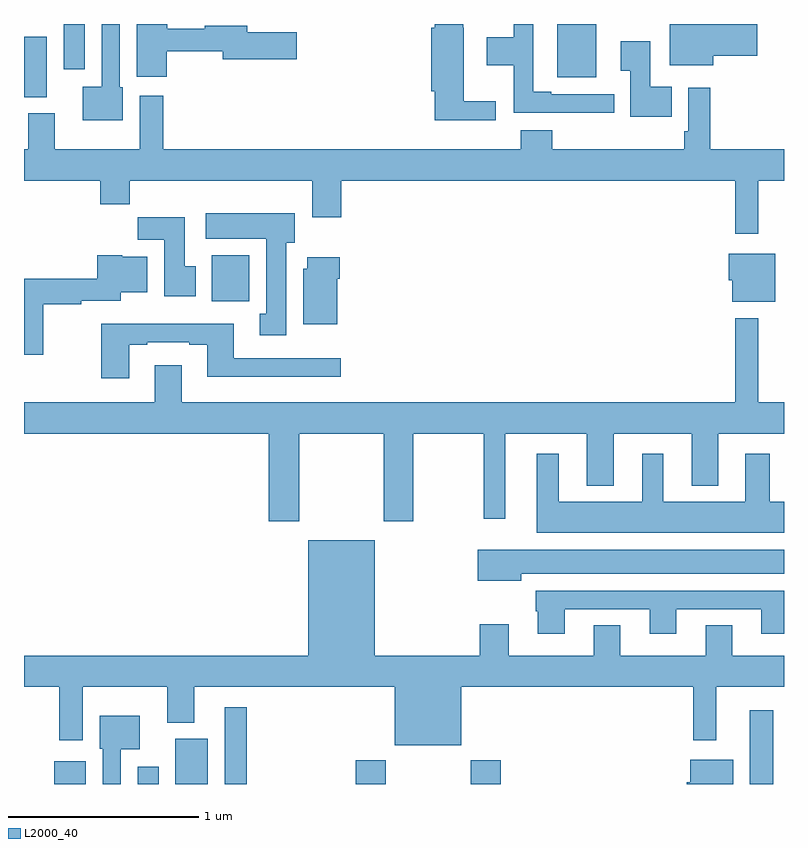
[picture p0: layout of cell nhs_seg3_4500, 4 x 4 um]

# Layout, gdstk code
import gdstk
lib = gdstk.Library(unit=1e-6, precision=1e-09)
def R(c, l, rs):  # rectangles x0, y0, x1, y1
    for r in rs: c.add(gdstk.rectangle(r[:2], r[2:], *l))
def P(c, l, *ps):  # polygons
    for p in ps: c.add(gdstk.Polygon(p, *l))
L2000_40 = (2000, 40)

nhs_seg3_4500 = lib.new_cell('nhs_seg3_4500')
R(nhs_seg3_4500, L2000_40, [(351.158,704.4,351.325,704.521), (351.599,704.4,351.709,704.491), (351.797,704.4,351.967,704.638), (352.056,704.4,352.172,704.803), (352.745,704.4,352.905,704.524), (353.35,704.4,353.51,704.524), (354.821,704.4,354.943,704.788), (351.989,706.94,352.186,707.182), (351,708.014,351.121,708.334), (353.807,708.119,354.013,708.4), (351.209,708.162,351.319,708.4)])
P(nhs_seg3_4500, L2000_40, [(354.628,708.233),(354.859,708.233),(354.859,708.4),(354.398,708.4),(354.398,708.182),(354.628,708.182)],
  [(351.52,708.066),(351.504,708.066),(351.504,708.4),(351.408,708.4),(351.408,708.07),(351.308,708.07),(351.308,707.894),(351.52,707.894)],
  [(353.482,707.993),(353.314,707.993),(353.314,708.381),(353.311,708.381),(353.311,708.4),(353.162,708.4),(353.162,708.381),(353.144,708.381),(353.144,708.045),(353.162,708.045),(353.162,707.894),(353.482,707.894)],
  [(354.106,708.03),(353.776,708.03),(353.776,708.043),(353.679,708.043),(353.679,708.4),(353.578,708.4),(353.578,708.33),(353.436,708.33),(353.436,708.182),(353.578,708.182),(353.578,707.934),(353.863,707.934),(353.863,707.933),(354.106,707.933)],
  [(351.75,708.256),(352.046,708.256),(352.046,708.214),(352.435,708.214),(352.435,708.356),(352.174,708.356),(352.174,708.392),(351.95,708.392),(351.95,708.375),(351.755,708.375),(351.755,708.4),(351.593,708.4),(351.593,708.123),(351.75,708.123)],
  [(354.41,708.07),(354.295,708.07),(354.295,708.31),(354.141,708.31),(354.141,708.154),(354.191,708.154),(354.191,707.912),(354.41,707.912)],
  [(354.865,707.576),(355,707.576),(355,707.74),(354.611,707.74),(354.611,708.064),(354.495,708.064),(354.495,707.836),(354.475,707.836),(354.475,707.74),(353.78,707.74),(353.78,707.842),(353.615,707.842),(353.615,707.74),(351.734,707.74),(351.734,708.022),(351.608,708.022),(351.608,707.74),(351.163,707.74),(351.163,707.929),(351.023,707.929),(351.023,707.74),(351,707.74),(351,707.576),(351.401,707.576),(351.401,707.452),(351.557,707.452),(351.557,707.576),(352.517,707.576),(352.517,707.382),(352.67,707.382),(352.67,707.576),(354.744,707.576),(354.744,707.295),(354.865,707.295)],
  [(352.381,707.25),(352.426,707.25),(352.426,707.404),(351.957,707.404),(351.957,707.27),(352.274,707.27),(352.274,706.874),(352.241,706.874),(352.241,706.761),(352.381,706.761)],
  [(351.904,707.124),(351.847,707.124),(351.847,707.383),(351.598,707.383),(351.598,707.264),(351.737,707.264),(351.737,706.968),(351.904,706.968)],
  [(354.955,707.191),(354.71,707.191),(354.71,707.052),(354.728,707.052),(354.728,706.937),(354.955,706.937)],
  [(351.102,706.924),(351.302,706.924),(351.302,706.944),(351.508,706.944),(351.508,706.988),(351.649,706.988),(351.649,707.176),(351.516,707.176),(351.516,707.182),(351.386,707.182),(351.386,707.06),(351,707.06),(351,706.659),(351.102,706.659)],
  [(352.648,707.06),(352.661,707.06),(352.661,707.173),(352.49,707.173),(352.49,707.112),(352.469,707.112),(352.469,706.82),(352.648,706.82)],
  [(352.449,706.244),(352.894,706.244),(352.894,705.783),(353.049,705.783),(353.049,706.244),(353.419,706.244),(353.419,705.795),(353.533,705.795),(353.533,706.244),(353.963,706.244),(353.963,705.971),(354.103,705.971),(354.103,706.244),(354.515,706.244),(354.515,705.971),(354.655,705.971),(354.655,706.244),(355,706.244),(355,706.408),(354.865,706.408),(354.865,706.852),(354.744,706.852),(354.744,706.408),(351.829,706.408),(351.829,706.603),(351.689,706.603),(351.689,706.408),(351,706.408),(351,706.244),(352.289,706.244),(352.289,705.783),(352.449,705.783)],
  [(351.553,706.713),(351.649,706.713),(351.649,706.725),(351.869,706.725),(351.869,706.713),(351.965,706.713),(351.965,706.544),(352.666,706.544),(352.666,706.641),(352.105,706.641),(352.105,706.822),(351.406,706.822),(351.406,706.536),(351.553,706.536)],
  [(355,705.886),(354.925,705.886),(354.925,706.138),(354.797,706.138),(354.797,705.886),(354.364,705.886),(354.364,706.138),(354.254,706.138),(354.254,705.886),(353.815,705.886),(353.815,706.138),(353.699,706.138),(353.699,705.722),(355,705.722)],
  [(351,704.912),(351.185,704.912),(351.185,704.631),(351.31,704.631),(351.31,704.912),(351.755,704.912),(351.755,704.723),(351.895,704.723),(351.895,704.912),(352.952,704.912),(352.952,704.603),(353.302,704.603),(353.302,704.912),(354.522,704.912),(354.522,704.631),(354.643,704.631),(354.643,704.912),(355,704.912),(355,705.076),(354.727,705.076),(354.727,705.236),(354.587,705.236),(354.587,705.076),(354.139,705.076),(354.139,705.236),(353.999,705.236),(353.999,705.076),(353.551,705.076),(353.551,705.241),(353.399,705.241),(353.399,705.076),(352.846,705.076),(352.846,705.682),(352.496,705.682),(352.496,705.076),(351,705.076)],
  [(353.617,705.506),(355,705.506),(355,705.634),(353.388,705.634),(353.388,705.47),(353.617,705.47)],
  [(353.845,705.321),(354.293,705.321),(354.293,705.192),(354.433,705.192),(354.433,705.321),(354.881,705.321),(354.881,705.192),(355,705.192),(355,705.417),(353.693,705.417),(353.693,705.309),(353.705,705.309),(353.705,705.192),(353.845,705.192)],
  [(351.51,704.582),(351.61,704.582),(351.61,704.758),(351.398,704.758),(351.398,704.586),(351.414,704.586),(351.414,704.4),(351.51,704.4)],
  [(354.733,704.527),(354.506,704.527),(354.506,704.409),(354.488,704.409),(354.488,704.4),(354.733,704.4)])

lib.write_gds('nhs_seg3_4500.gds')
